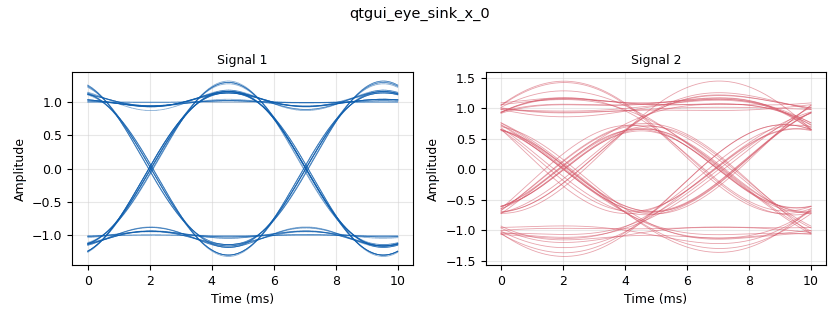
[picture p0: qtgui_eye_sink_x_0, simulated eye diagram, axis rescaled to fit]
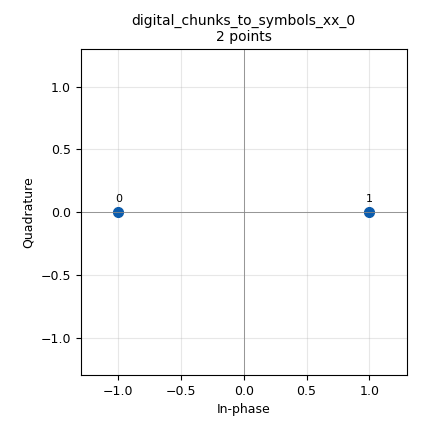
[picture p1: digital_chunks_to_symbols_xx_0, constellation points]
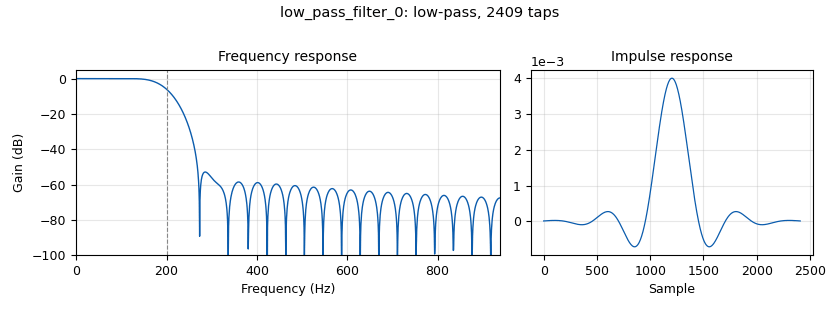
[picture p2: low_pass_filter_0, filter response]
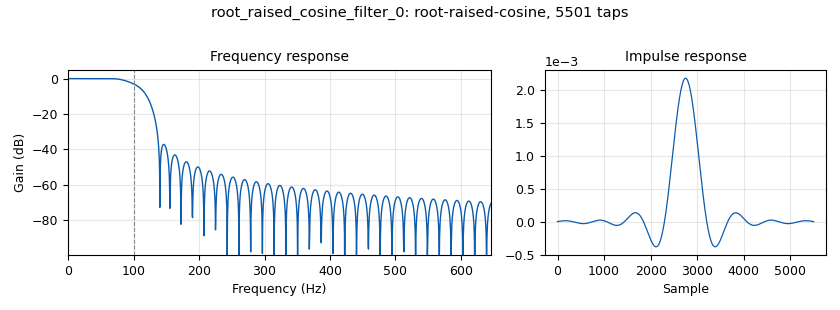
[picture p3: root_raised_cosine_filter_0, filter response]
options:
  parameters:
    generate_options: qt_gui
    id: lab2_entregable
    output_language: python
    title: Not titled yet
  states: {}

blocks:
- name: alpha
  id: variable_qtgui_range
  parameters:
    label: Roll-off
    start: '0.01'
    step: '0.05'
    stop: '1.0'
    value: '0.35'
  states: {}
- name: cutoff_freq
  id: variable_qtgui_range
  parameters:
    label: frecuencia de corte
    start: '10'
    step: '10'
    stop: '2000'
    value: '200'
  states: {}
- name: noise_amp
  id: variable_qtgui_range
  parameters:
    start: '0'
    step: '0.01'
    stop: '0.5'
    value: '0'
  states: {}
- name: samp_rate
  id: variable
  parameters:
    value: '100000'
  states: {}
- name: samples_per_symbol
  id: variable
  parameters:
    value: '500'
  states: {}
- name: symbol_rate
  id: variable
  parameters:
    value: '200'
  states: {}
- name: analog_noise_source_x_0
  id: analog_noise_source_x
  parameters:
    amp: noise_amp
    noise_type: analog.GR_GAUSSIAN
    seed: '0'
    type: float
  states: {}
- name: analog_random_uniform_source_x_0
  id: analog_random_uniform_source_x
  parameters:
    maximum: '2'
    minimum: '0'
    seed: '0'
    type: byte
  states: {}
- name: blocks_add_xx_0
  id: blocks_add_xx
  parameters:
    type: float
  states: {}
- name: blocks_add_xx_1
  id: blocks_add_xx
  parameters:
    type: float
  states: {}
- name: blocks_repeat_0
  id: blocks_repeat
  parameters:
    interp: '500'
    type: float
  states: {}
- name: digital_chunks_to_symbols_xx_0
  id: digital_chunks_to_symbols_xx
  parameters:
    dimension: '1'
    in_type: byte
    out_type: float
    symbol_table: '[-1,1]'
  states: {}
- name: low_pass_filter_0
  id: low_pass_filter
  parameters:
    cutoff_freq: cutoff_freq
    decim: '1'
    gain: '1'
    samp_rate: samp_rate
    type: fir_filter_fff
    width: '100'
    win: window.WIN_HAMMING
  states: {}
- name: low_pass_filter_0_0
  id: low_pass_filter
  parameters:
    cutoff_freq: cutoff_freq
    decim: '1'
    gain: '1'
    samp_rate: samp_rate
    type: fir_filter_fff
    width: '100'
    win: window.WIN_HAMMING
  states: {}
- name: qtgui_eye_sink_x_0
  id: qtgui_eye_sink_x
  parameters:
    nconnections: '2'
    samp_per_symbol: '500'
    size: '50000'
    srate: samp_rate
    type: float
  states: {}
- name: root_raised_cosine_filter_0
  id: root_raised_cosine_filter
  parameters:
    alpha: alpha
    decim: '1'
    gain: '1'
    ntaps: 11*samples_per_symbol
    samp_rate: samp_rate
    sym_rate: '200'
    type: fir_filter_fff
  states: {}
- name: root_raised_cosine_filter_0_0
  id: root_raised_cosine_filter
  parameters:
    alpha: alpha
    decim: '1'
    gain: '1'
    ntaps: 11*samples_per_symbol
    samp_rate: samp_rate
    sym_rate: '200'
    type: fir_filter_fff
  states: {}

connections:
- [analog_noise_source_x_0, '0', blocks_add_xx_0, '1']
- [analog_noise_source_x_0, '0', blocks_add_xx_1, '0']
- [analog_random_uniform_source_x_0, '0', digital_chunks_to_symbols_xx_0, '0']
- [blocks_add_xx_0, '0', qtgui_eye_sink_x_0, '0']
- [blocks_add_xx_1, '0', root_raised_cosine_filter_0_0, '0']
- [blocks_repeat_0, '0', low_pass_filter_0, '0']
- [blocks_repeat_0, '0', root_raised_cosine_filter_0, '0']
- [digital_chunks_to_symbols_xx_0, '0', blocks_repeat_0, '0']
- [low_pass_filter_0, '0', blocks_add_xx_0, '0']
- [low_pass_filter_0_0, '0', blocks_add_xx_1, '1']
- [root_raised_cosine_filter_0, '0', low_pass_filter_0_0, '0']
- [root_raised_cosine_filter_0_0, '0', qtgui_eye_sink_x_0, '1']

metadata:
  file_format: 1
  grc_version: 3.10.9.2
